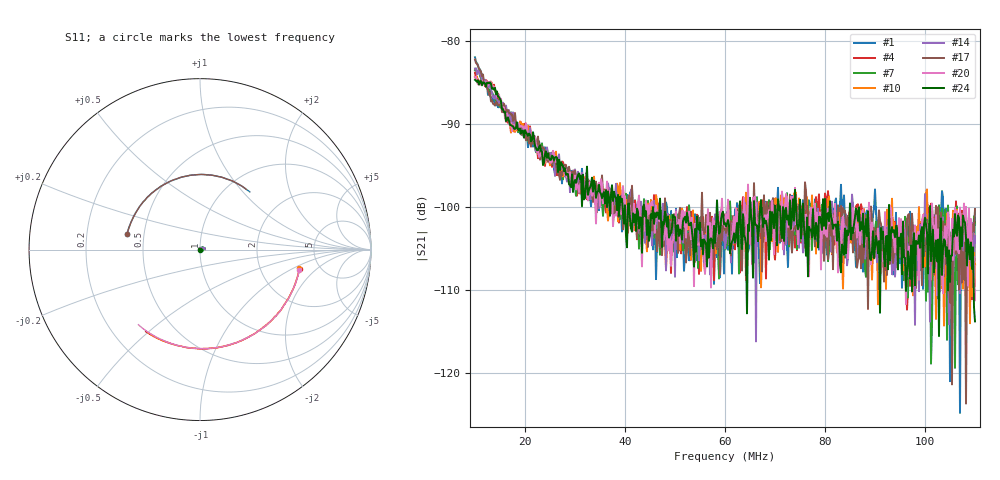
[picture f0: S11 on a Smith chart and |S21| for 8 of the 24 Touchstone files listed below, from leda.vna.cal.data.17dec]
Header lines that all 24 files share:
! Anritsu VNA Master:  Model: MS2036C/10/77
! SN:  1601066
! Existing Calibration Information:
! TYPE:  Current Settings,  Active Cal Settings
! # POINTS:  501,  501
! START FREQ:  10.000 MHz,  10.000 MHz
! SOURCE POWER:  High,  High
! IFBW:  100 Hz,  100 Hz
! AVG FACTOR:  1 ,  1
! REF PLANE 1:  0 mm,  0 mm
! REF PLANE 2:  0 mm,  0 mm
! CAL TYPE:  Full S11,  Full S11
! CAL METHOD:  SOLT,  SOLT
! CAL LINE TYPE:  Coax,  Coax
! DUT PORT 2:  K-Conn(F),  K-Conn(F)
! CAL STATUS:  OK: Accuracy High,  --
# GHZ S DB R 50.0
! FREQ.GHZ  S11DB  S11A  S21DB  S21A  S12DB  S12A  S22DB  S22A
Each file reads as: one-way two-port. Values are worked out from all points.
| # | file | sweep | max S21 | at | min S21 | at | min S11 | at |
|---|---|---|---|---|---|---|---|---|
| 1 | 252.ew.sma.20ohm3.s2p | 10 MHz to 110 MHz | -82.01 dB | 10 MHz | -124.8 dB | 107 MHz | -7.3 dB | 35 MHz |
| 2 | 252.ew.sma.msr1.s2p | 10 MHz to 110 MHz | -83.42 dB | 11.8 MHz | -123.2 dB | 106.6 MHz | -9.1 dB | 99.8 MHz |
| 3 | 252.ns.sma.50ohm.s2p | 10 MHz to 110 MHz | -83.21 dB | 10 MHz | -115.9 dB | 100.6 MHz | -46.0 dB | 10 MHz |
| 4 | 252.ns.sma.200bohm.s2p | 10 MHz to 110 MHz | -83.86 dB | 10 MHz | -112.3 dB | 96.4 MHz | -4.8 dB | 107.4 MHz |
| 5 | 254.ew.sma.me.BAD.s2p | 10 MHz to 110 MHz | -83.56 dB | 11.6 MHz | -119.7 dB | 107.4 MHz | -51.4 dB | 15.6 MHz |
| 6 | 254.ew.sma.r50.21.s2p | 10 MHz to 110 MHz | -83.18 dB | 10 MHz | -110.0 dB | 109.4 MHz | -45.1 dB | 10 MHz |
| 7 | 254.ns.sma.r50.31.s2p | 10 MHz to 110 MHz | -83.54 dB | 10 MHz | -119.3 dB | 106 MHz | -43.8 dB | 10.2 MHz |
| 8 | 255.ew.sma.r20.21.s2p | 10 MHz to 110 MHz | -82.63 dB | 10 MHz | -110.8 dB | 94 MHz | -7.3 dB | 42 MHz |
| 9 | 255.ew.sma.r50.v2.2.s2p | 10 MHz to 107.9 MHz | -83.08 dB | 10 MHz | -116.9 dB | 101.6 MHz | -44.1 dB | 10 MHz |
| 10 | 255.ew.sma.r200.12.s2p | 10 MHz to 110 MHz | -84.31 dB | 10.4 MHz | -114.2 dB | 103.8 MHz | -4.8 dB | 107.8 MHz |
| 11 | 255.ew.sma.r200.21.s2p | 10 MHz to 110 MHz | -84.17 dB | 10 MHz | -117.1 dB | 109.4 MHz | -4.8 dB | 109.6 MHz |
| 12 | 255.ns.sma.me.s2p | 10 MHz to 110 MHz | -83.42 dB | 11.8 MHz | -118.7 dB | 99 MHz | -9.4 dB | 105.2 MHz |
| 13 | 255.ns.sma.r20.21.s2p | 10 MHz to 110 MHz | -82.47 dB | 10 MHz | -121.4 dB | 107 MHz | -7.3 dB | 42.2 MHz |
| 14 | 255.ns.sma.r50.22.s2p | 10 MHz to 110 MHz | -83.33 dB | 10.2 MHz | -116.2 dB | 66.2 MHz | -44.8 dB | 10 MHz |
| 15 | 256.ew.n.r20.22.s2p | 10 MHz to 110 MHz | -82.35 dB | 10 MHz | -122.6 dB | 107.6 MHz | -7.3 dB | 35 MHz |
| 16 | 256.ew.n.r50.21.s2p | 10 MHz to 110 MHz | -83.19 dB | 10 MHz | -119.1 dB | 97.8 MHz | -45.2 dB | 10.2 MHz |
| 17 | 256.ew.sma.r20.21.s2p | 10 MHz to 110 MHz | -82.29 dB | 10 MHz | -123.6 dB | 108.2 MHz | -7.3 dB | 23.2 MHz |
| 18 | 256.ns.n.r20.21.s2p | 10 MHz to 110 MHz | -82.64 dB | 10.4 MHz | -115.3 dB | 101.2 MHz | -7.3 dB | 26.8 MHz |
| 19 | 256.ns.n.r20.22.s2p | 10 MHz to 110 MHz | -82.26 dB | 10.2 MHz | -113.4 dB | 100.8 MHz | -7.3 dB | 49.4 MHz |
| 20 | 256.ns.n.r200.11.s2p | 10 MHz to 110 MHz | -84.33 dB | 10.2 MHz | -111.7 dB | 96.2 MHz | -4.9 dB | 109.6 MHz |
| 21 | 256.ns.n.r200.12.s2p | 10 MHz to 110 MHz | -84.22 dB | 10 MHz | -115.4 dB | 90.6 MHz | -4.9 dB | 110 MHz |
| 22 | 256.ns.sma.me.s2p | 10 MHz to 110 MHz | -83.54 dB | 11.8 MHz | -115.1 dB | 109 MHz | -54.3 dB | 10.4 MHz |
| 23 | 256.ns.sma.r200.11.s2p | 10 MHz to 110 MHz | -84.45 dB | 10 MHz | -123.2 dB | 104.8 MHz | -51.1 dB | 10.4 MHz |
| 24 | 256.ns.sma.r200.21.s2p | 10 MHz to 110 MHz | -84.73 dB | 10 MHz | -115.5 dB | 102.8 MHz | -51.1 dB | 10.4 MHz |
